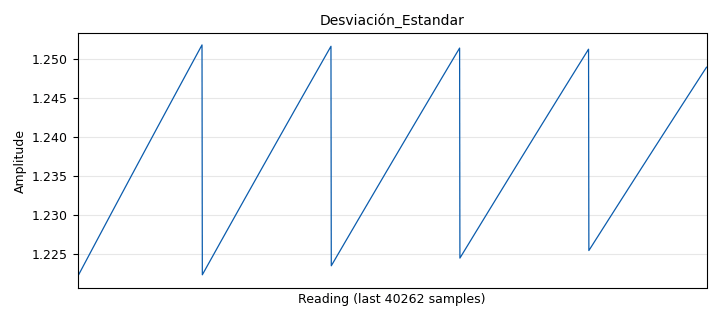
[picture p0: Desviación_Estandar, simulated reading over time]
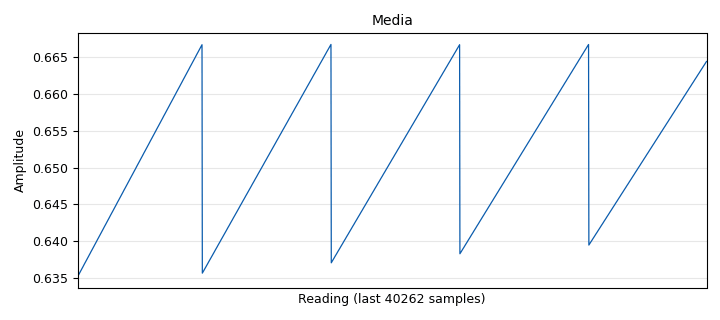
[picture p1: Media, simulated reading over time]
options:
  parameters:
    generate_options: qt_gui
    id: Promedios_de_tiempo
    output_language: python
    title: Not titled yet
  states: {}

blocks:
- name: samp_rate
  id: variable
  parameters:
    value: '32000'
  states: {}
- name: Desviación_Estandar
  id: qtgui_number_sink
  parameters:
    graph_type: qtgui.NUM_GRAPH_HORIZ
    type: float
  states: {}
- name: Media
  id: qtgui_number_sink
  parameters:
    graph_type: qtgui.NUM_GRAPH_HORIZ
    type: float
  states: {}
- name: Media_Cuadratica
  id: qtgui_number_sink
  parameters:
    graph_type: qtgui.NUM_GRAPH_HORIZ
    type: float
  states: {}
- name: Potencia_Promedio
  id: qtgui_number_sink
  parameters:
    graph_type: qtgui.NUM_GRAPH_HORIZ
    type: float
  states: {}
- name: RMS
  id: qtgui_number_sink
  parameters:
    graph_type: qtgui.NUM_GRAPH_HORIZ
    type: float
  states: {}
- name: blocks_vector_source_x_0
  id: blocks_vector_source_x
  parameters:
    repeat: 'True'
    type: float
    vector: (1, 2, -1)
  states: {}
- name: epy_block_0
  id: epy_block
  parameters:
    _source_code: |
      """
      Embedded Python Blocks:

      Each time this file is saved, GRC will instantiate the first class it finds
      to get ports and parameters of your block. The arguments to __init__  will
      be the parameters. All of them are required to have default values!
      """
      import numpy as np
      from gnuradio import gr

      class blk(gr.sync_block):

          def __init__(self):  # only default arguments here
              gr.sync_block.__init__(
                  self,
                  name='Promedios_de_tiempos',   # will show up in GRC
                  in_sig=[np.float32],
                  out_sig=[np.float32, np.float32, np.float32, np.float32, np.float32]
              )
              self.acum_anterior = 0
              self.Ntotales = 0
              self.acum_anterior1 = 0
              self.acum_anterior2 = 0

          def work(self, input_items, output_items):
              x = input_items[0]    # Señal de entrada
              y0 = output_items[0]  # Promedio de la señal
              y1 = output_items[1]  # Media de la señal
              y2 = output_items[2]  # RMS de la señal
              y3 = output_items[3]  # Potencia promedio de la señal
              y4 = output_items[4]  # Desviación estándar de la señal

              # Calculo del promedio
              N = len(x)
              self.Ntotales = self.Ntotales + N
              acumulado = self.acum_anterior + np.cumsum(x)
              self.acum_anterior = acumulado[N-1]
              y0[:] = acumulado / self.Ntotales

              # Calculo de la media cuadrática
              x2 = np.multiply(x, x)
              acumulado1 = self.acum_anterior1 + np.cumsum(x2)
              self.acum_anterior1 = acumulado1[N-1]
              y1[:] = acumulado1 / self.Ntotales

              # Calculo de la RMS
              y2[:] = np.sqrt(y1)

              # Calculo de la potencia promedio
              y3[:] = np.multiply(y2, y2)

              # Calculo de la desviación estándar
              x3 = np.multiply(x - y0, x - y0)
              acumulado2 = self.acum_anterior2 + np.cumsum(x3)
              self.acum_anterior2 = acumulado2[N-1]
              y4[:] = np.sqrt(acumulado2 / self.Ntotales)

              return len(x)
  states: {}

connections:
- [blocks_vector_source_x_0, '0', epy_block_0, '0']
- [epy_block_0, '0', Media, '0']
- [epy_block_0, '1', Media_Cuadratica, '0']
- [epy_block_0, '2', RMS, '0']
- [epy_block_0, '3', Potencia_Promedio, '0']
- [epy_block_0, '4', Desviación_Estandar, '0']

metadata:
  file_format: 1
  grc_version: v3.10.11.0-89-ga17f69e7
